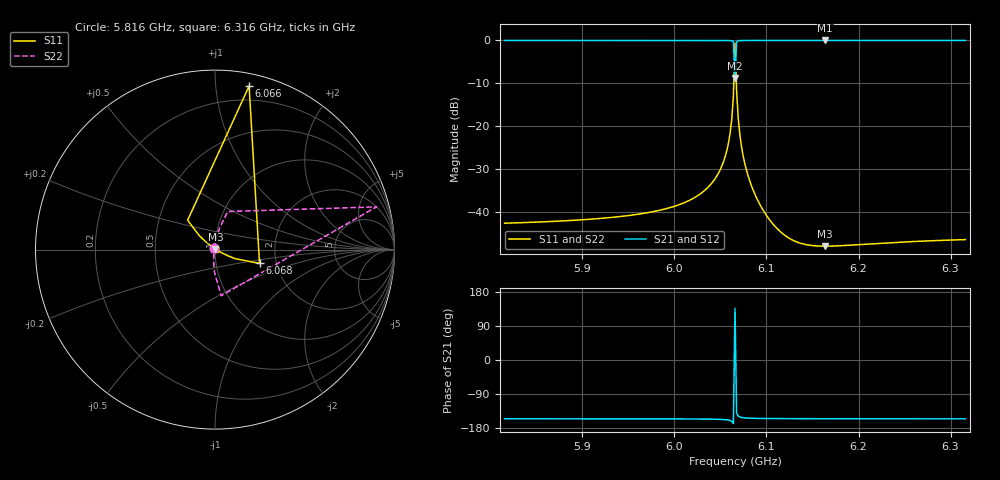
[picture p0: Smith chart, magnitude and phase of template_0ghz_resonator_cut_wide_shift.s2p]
! Touchstone file exported from HFSS 2024.1.0
!  File:  C:/Users/alex_0000/Desktop/hfss_resonance_simulator (1).aedt
!  Generated:  06:27:55 PM Jun  4, 2025
!  Design:  hfssO1XZ3E2
!  Project:  hfss_resonance_simulator (1)
!  Setup:  Setup1
!  Solution:  Sweep
! Created with skrf (http://scikit-rf.org).
# GHz S RI R 50.0
! Port[1] = 1
! Port[2] = 2
!freq ReS11 ImS11 ReS21 ImS21 ReS12 ImS12 ReS22 ImS22
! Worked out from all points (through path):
!   287 points, 5.816 GHz to 6.316 GHz, reference 50 ohm
!   highest |S21| = 0.00 dB at 6.164 GHz (marker M1); lowest = -8.7 dB at 6.066 GHz (marker M2)
!   lowest |S11| = -47.9 dB at 6.164 GHz (marker M3), VSWR 1.01, Z = 50.2 + j0.34 ohm
!   |S11| at or under -10 dB: start of sweep to 6.065 GHz; 6.067 GHz to end of sweep
!   |S22| runs from -47.9 to -0.6 dB; largest |S21 - S12| = 2.3e-13
!   S11 on the Smith chart (normalised r, x): 5.816 GHz: 0.99, +0.01; 6.066 GHz: 0.09, +1.23; 6.068 GHz: 1.63, -0.27; 6.316 GHz: 1.00, +0.01
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5.815603  -0.00298 0.00684  -0.9065 -0.422  -0.9065 -0.422  -0.00332 0.00669
5.899603  -0.00368 0.0073  -0.9074 -0.4201  -0.9074 -0.4201  -0.00319 0.00753
5.983603  -0.00585 0.00876  -0.909 -0.4166  -0.909 -0.4166  -0.00282 0.0101
6.025603  -0.0103 0.0118  -0.9115 -0.411  -0.9115 -0.411  -0.00204 0.0156
6.039603  -0.0149 0.0151  -0.9138 -0.4056  -0.9138 -0.4056  -0.00117 0.0212
6.050103  -0.0236 0.0214  -0.9179 -0.3955  -0.9179 -0.3955  0.000654 0.0318
6.058853  -0.0493 0.0419  -0.9291 -0.3642  -0.9291 -0.3642  0.00766 0.0642
6.062353  -0.0902 0.0811  -0.9433 -0.3091  -0.9433 -0.3091  0.0247 0.1188
6.064103  -0.1524 0.1637  -0.9527 -0.2057  -0.9527 -0.2057  0.0713 0.212
6.065853  0.19 0.9113  -0.265 0.2513  -0.265 0.2513  0.8999 0.2382
6.067603  0.2481 -0.0768  -0.7381 -0.6227  -0.7381 -0.6227  0.0339 -0.2575
6.069353  0.1135 -0.0508  -0.8392 -0.5293  -0.8392 -0.5293  -0.00304 -0.1243
6.071103  0.0725 -0.0348  -0.8658 -0.4939  -0.8658 -0.4939  -0.00696 -0.0801
6.074603  0.0416 -0.0198  -0.8843 -0.4647  -0.8843 -0.4647  -0.00729 -0.0454
6.081603  0.0219 -0.00882  -0.8953 -0.4449  -0.8953 -0.4449  -0.0062 -0.0228
6.090353  0.0134 -0.00371  -0.8999 -0.4359  -0.8999 -0.4359  -0.0054 -0.0128
6.102603  0.00838 -0.000579  -0.9026 -0.4304  -0.9026 -0.4304  -0.00483 -0.00688
6.116603  0.00564 0.00116  -0.9041 -0.4273  -0.9041 -0.4273  -0.00448 -0.00362
6.149853  0.00281 0.00299  -0.9058 -0.4238  -0.9058 -0.4238  -0.00409 -0.000245
6.163853  0.0022 0.00338  -0.9062 -0.4229  -0.9062 -0.4229  -0.004 0.000488
6.233853  0.00068 0.00437  -0.9074 -0.4203  -0.9074 -0.4203  -0.00377 0.00231
6.316103  -5.84e-06 0.00481  -0.9083 -0.4184  -0.9083 -0.4184  -0.00365 0.00313
